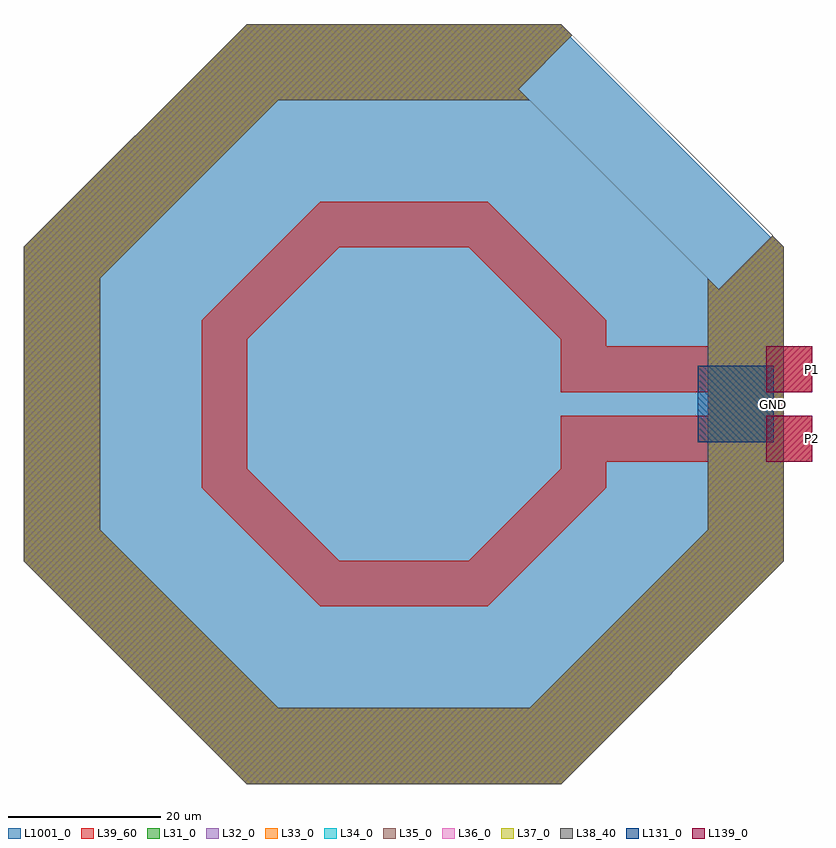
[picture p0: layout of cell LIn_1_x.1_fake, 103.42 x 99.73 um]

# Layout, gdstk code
import gdstk
lib = gdstk.Library(unit=1e-6, precision=1e-09)
def R(c, l, rs):  # rectangles x0, y0, x1, y1
    for r in rs: c.add(gdstk.rectangle(r[:2], r[2:], *l))
def P(c, l, *ps):  # polygons
    for p in ps: c.add(gdstk.Polygon(p, *l))
L31_0 = (31, 0)
L32_0 = (32, 0)
L33_0 = (33, 0)
L34_0 = (34, 0)
L35_0 = (35, 0)
L36_0 = (36, 0)
L37_0 = (37, 0)
L38_40 = (38, 40)
L39_60 = (39, 60)
L131_0 = (131, 0)
L139_0 = (139, 0)
L1001_0 = (1001, 0)

lin_1_x_1_fake = lib.new_cell('LIn_1_x.1_fake')
P(lin_1_x_1_fake, L31_0, [(41.327,15.047),(48.398,22.118),(20.654,49.863),(-20.654,49.863),(-49.863,20.654),(-49.863,-20.654),(-20.654,-49.863),(20.654,-49.863),(49.863,-20.654),(49.863,20.654),(22.118,48.398),(15.047,41.327),(39.863,16.512),(39.863,-16.512),(16.512,-39.863),(-16.512,-39.863),(-39.863,-16.512),(-39.863,16.512),(-16.512,39.863),(16.512,39.863)])
P(lin_1_x_1_fake, L32_0, [(41.327,15.047),(48.398,22.118),(20.654,49.863),(-20.654,49.863),(-49.863,20.654),(-49.863,-20.654),(-20.654,-49.863),(20.654,-49.863),(49.863,-20.654),(49.863,20.654),(22.118,48.398),(15.047,41.327),(39.863,16.512),(39.863,-16.512),(16.512,-39.863),(-16.512,-39.863),(-39.863,-16.512),(-39.863,16.512),(-16.512,39.863),(16.512,39.863)])
P(lin_1_x_1_fake, L33_0, [(41.327,15.047),(48.398,22.118),(20.654,49.863),(-20.654,49.863),(-49.863,20.654),(-49.863,-20.654),(-20.654,-49.863),(20.654,-49.863),(49.863,-20.654),(49.863,20.654),(22.118,48.398),(15.047,41.327),(39.863,16.512),(39.863,-16.512),(16.512,-39.863),(-16.512,-39.863),(-39.863,-16.512),(-39.863,16.512),(-16.512,39.863),(16.512,39.863)])
P(lin_1_x_1_fake, L34_0, [(41.327,15.047),(48.398,22.118),(20.654,49.863),(-20.654,49.863),(-49.863,20.654),(-49.863,-20.654),(-20.654,-49.863),(20.654,-49.863),(49.863,-20.654),(49.863,20.654),(22.118,48.398),(15.047,41.327),(39.863,16.512),(39.863,-16.512),(16.512,-39.863),(-16.512,-39.863),(-39.863,-16.512),(-39.863,16.512),(-16.512,39.863),(16.512,39.863)])
P(lin_1_x_1_fake, L35_0, [(41.327,15.047),(48.398,22.118),(20.654,49.863),(-20.654,49.863),(-49.863,20.654),(-49.863,-20.654),(-20.654,-49.863),(20.654,-49.863),(49.863,-20.654),(49.863,20.654),(22.118,48.398),(15.047,41.327),(39.863,16.512),(39.863,-16.512),(16.512,-39.863),(-16.512,-39.863),(-39.863,-16.512),(-39.863,16.512),(-16.512,39.863),(16.512,39.863)])
P(lin_1_x_1_fake, L36_0, [(41.327,15.047),(48.398,22.118),(20.654,49.863),(-20.654,49.863),(-49.863,20.654),(-49.863,-20.654),(-20.654,-49.863),(20.654,-49.863),(49.863,-20.654),(49.863,20.654),(22.118,48.398),(15.047,41.327),(39.863,16.512),(39.863,-16.512),(16.512,-39.863),(-16.512,-39.863),(-39.863,-16.512),(-39.863,16.512),(-16.512,39.863),(16.512,39.863)])
P(lin_1_x_1_fake, L37_0, [(41.327,15.047),(48.398,22.118),(20.654,49.863),(-20.654,49.863),(-49.863,20.654),(-49.863,-20.654),(-20.654,-49.863),(20.654,-49.863),(49.863,-20.654),(49.863,20.654),(22.118,48.398),(15.047,41.327),(39.863,16.512),(39.863,-16.512),(16.512,-39.863),(-16.512,-39.863),(-39.863,-16.512),(-39.863,16.512),(-16.512,39.863),(16.512,39.863)])
P(lin_1_x_1_fake, L38_40, [(41.327,15.047),(48.398,22.118),(20.654,49.863),(-20.654,49.863),(-49.863,20.654),(-49.863,-20.654),(-20.654,-49.863),(20.654,-49.863),(49.863,-20.654),(49.863,20.654),(22.118,48.398),(15.047,41.327),(39.863,16.512),(39.863,-16.512),(16.512,-39.863),(-16.512,-39.863),(-39.863,-16.512),(-39.863,16.512),(-16.512,39.863),(16.512,39.863)])
R(lin_1_x_1_fake, L39_60, [(20.56,-7.56,53.56,-1.56), (20.56,1.56,53.56,7.56)])
P(lin_1_x_1_fake, L39_60, [(20.56,4.56),(26.56,4.56),(26.56,11.003),(11.003,26.56),(-11.003,26.56),(-26.56,11.003),(-26.56,-11.003),(-11.003,-26.56),(11.003,-26.56),(26.56,-11.003),(26.56,-4.56),(20.56,-4.56),(20.56,-8.517),(8.517,-20.56),(-8.517,-20.56),(-20.56,-8.517),(-20.56,8.517),(-8.517,20.56),(8.517,20.56),(20.56,8.517)],
  [(41.327,15.047),(48.398,22.118),(20.654,49.863),(-20.654,49.863),(-49.863,20.654),(-49.863,-20.654),(-20.654,-49.863),(20.654,-49.863),(49.863,-20.654),(49.863,20.654),(22.118,48.398),(15.047,41.327),(39.863,16.512),(39.863,-16.512),(16.512,-39.863),(-16.512,-39.863),(-39.863,-16.512),(-39.863,16.512),(-16.512,39.863),(16.512,39.863)])
R(lin_1_x_1_fake, L131_0, [(38.56,-5,48.56,5)])
R(lin_1_x_1_fake, L139_0, [(47.56,-7.56,53.56,-1.56), (47.56,1.56,53.56,7.56)])
P(lin_1_x_1_fake, L1001_0, [(49.482,20.496),(20.496,49.482),(-20.496,49.482),(-49.482,20.496),(-49.482,-20.496),(-20.496,-49.482),(20.496,-49.482),(49.482,-20.496)],
  [(49.482,20.496),(20.496,49.482),(-20.496,49.482),(-49.482,20.496),(-49.482,-20.496),(-20.496,-49.482),(20.496,-49.482),(49.482,-20.496)],
  [(49.482,20.496),(20.496,49.482),(-20.496,49.482),(-49.482,20.496),(-49.482,-20.496),(-20.496,-49.482),(20.496,-49.482),(49.482,-20.496)],
  [(49.482,20.496),(20.496,49.482),(-20.496,49.482),(-49.482,20.496),(-49.482,-20.496),(-20.496,-49.482),(20.496,-49.482),(49.482,-20.496)],
  [(49.482,20.496),(20.496,49.482),(-20.496,49.482),(-49.482,20.496),(-49.482,-20.496),(-20.496,-49.482),(20.496,-49.482),(49.482,-20.496)],
  [(49.482,20.496),(20.496,49.482),(-20.496,49.482),(-49.482,20.496),(-49.482,-20.496),(-20.496,-49.482),(20.496,-49.482),(49.482,-20.496)],
  [(49.482,20.496),(20.496,49.482),(-20.496,49.482),(-49.482,20.496),(-49.482,-20.496),(-20.496,-49.482),(20.496,-49.482),(49.482,-20.496)],
  [(49.482,20.496),(20.496,49.482),(-20.496,49.482),(-49.482,20.496),(-49.482,-20.496),(-20.496,-49.482),(20.496,-49.482),(49.482,-20.496)],
  [(49.482,20.496),(20.496,49.482),(-20.496,49.482),(-49.482,20.496),(-49.482,-20.496),(-20.496,-49.482),(20.496,-49.482),(49.482,-20.496)])
lin_1_x_1_fake.add(gdstk.Label('P1', (53.559,4.562), layer=139, texttype=0))
lin_1_x_1_fake.add(gdstk.Label('P2', (53.559,-4.562), layer=139, texttype=0))
lin_1_x_1_fake.add(gdstk.Label('GND', (48.559,0), layer=131, texttype=0))

lib.write_gds('LIn_1_x.1_fake.gds')
